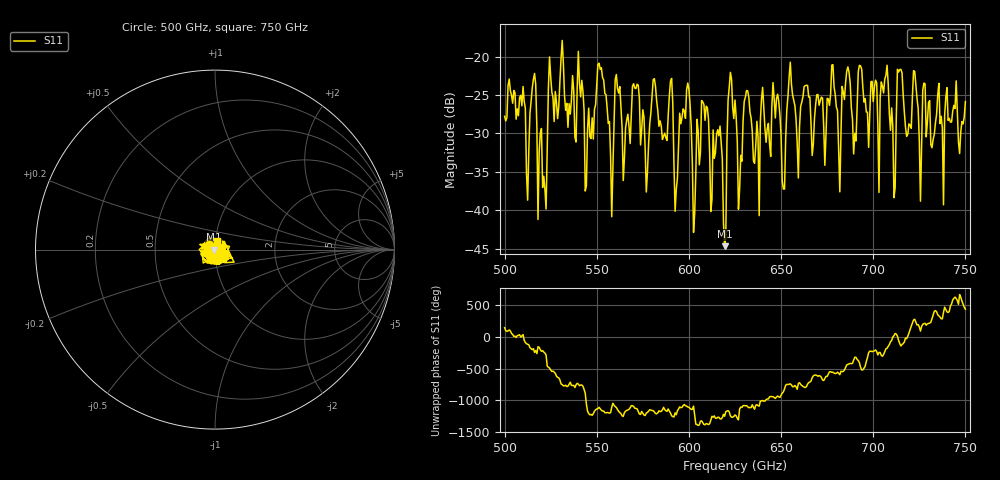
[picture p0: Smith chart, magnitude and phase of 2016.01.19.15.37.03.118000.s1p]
!Created with skrf (http://scikit-rf.org).
# GHz S RI R 50.0
!freq ReS11 ImS11
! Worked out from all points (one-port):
!   401 points, 500 GHz to 750 GHz, reference 50 ohm
!   lowest |S11| = -44.7 dB at 619.4 GHz (marker M1), VSWR 1.01, Z = 49.4 - j0.0722 ohm
!   |S11| at or under -10 dB: start of sweep to end of sweep
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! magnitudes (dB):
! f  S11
! 500 GHz  -27.8
! 512.5 GHz  -38.7
! 515.6 GHz  -23.0
! 521.9 GHz  -37.3
! 525 GHz  -22.6
! 531.2 GHz  -17.9
! 545 GHz  -29.5
! 551.2 GHz  -20.9
! 557.5 GHz  -32.9
! 562.5 GHz  -23.9
! 577.5 GHz  -35.0
! 590 GHz  -23.2
! 593.8 GHz  -35.8
! 608.1 GHz  -26.2
! 619.4 GHz  -44.7
! 621.9 GHz  -24.0
! 625 GHz  -25.7
! 627.5 GHz  -37.2
! 631.2 GHz  -24.4
! 636.9 GHz  -28.4
! 646.9 GHz  -28.0
! 651.2 GHz  -37.2
! 656.2 GHz  -25.0
! 687.5 GHz  -23.5
! 710.6 GHz  -29.1
! 714.4 GHz  -21.7
! 718.8 GHz  -30.1
! 750 GHz  -25.9
